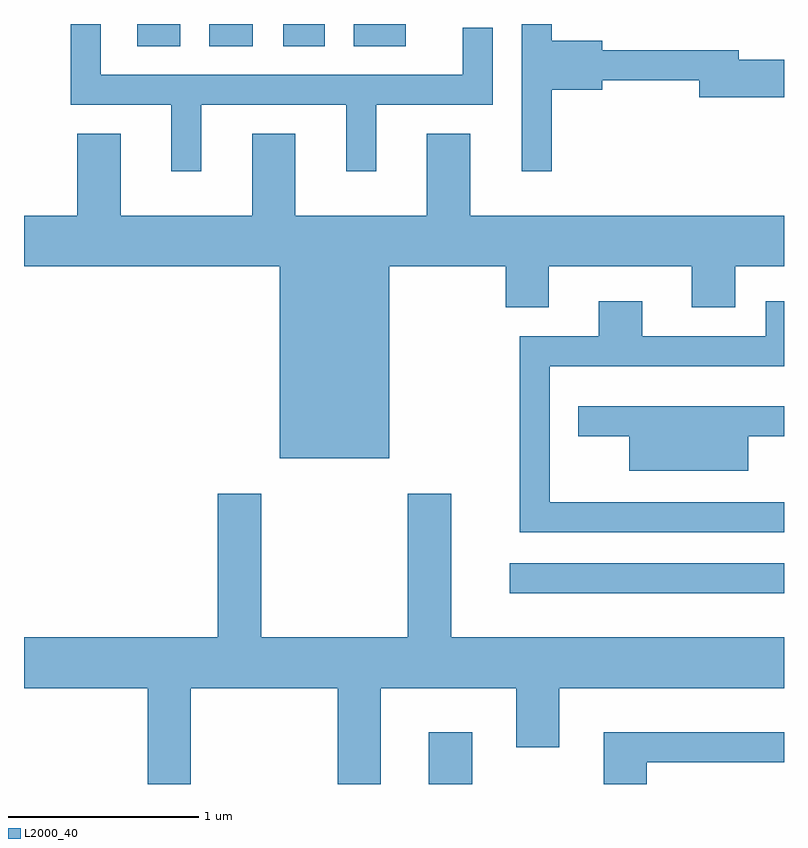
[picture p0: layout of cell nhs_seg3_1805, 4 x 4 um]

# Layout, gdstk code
import gdstk
lib = gdstk.Library(unit=1e-6, precision=1e-09)
def R(c, l, rs):  # rectangles x0, y0, x1, y1
    for r in rs: c.add(gdstk.rectangle(r[:2], r[2:], *l))
def P(c, l, *ps):  # polygons
    for p in ps: c.add(gdstk.Polygon(p, *l))
L2000_40 = (2000, 40)

nhs_seg3_1805 = lib.new_cell('nhs_seg3_1805')
R(nhs_seg3_1805, L2000_40, [(239.741,1189.892,239.969,1190.164), (240.168,1190.896,241.611,1191.054), (238.206,1193.776,238.434,1193.892), (238.586,1193.776,238.814,1193.892), (238.976,1193.776,239.194,1193.892), (239.346,1193.776,239.619,1193.892)])
P(nhs_seg3_1805, L2000_40, [(240.389,1193.546),(240.654,1193.546),(240.654,1193.596),(241.166,1193.596),(241.166,1193.506),(241.611,1193.506),(241.611,1193.704),(241.374,1193.704),(241.374,1193.754),(240.654,1193.754),(240.654,1193.804),(240.389,1193.804),(240.389,1193.892),(240.231,1193.892),(240.231,1193.118),(240.389,1193.118)],
  [(238.544,1193.466),(239.306,1193.466),(239.306,1193.118),(239.464,1193.118),(239.464,1193.466),(240.079,1193.466),(240.079,1193.873),(239.921,1193.873),(239.921,1193.624),(238.014,1193.624),(238.014,1193.892),(237.856,1193.892),(237.856,1193.466),(238.386,1193.466),(238.386,1193.118),(238.544,1193.118)],
  [(239.534,1192.616),(240.146,1192.616),(240.146,1192.401),(240.374,1192.401),(240.374,1192.616),(241.126,1192.616),(241.126,1192.401),(241.354,1192.401),(241.354,1192.616),(241.611,1192.616),(241.611,1192.884),(239.959,1192.884),(239.959,1193.314),(239.731,1193.314),(239.731,1192.884),(239.039,1192.884),(239.039,1193.314),(238.811,1193.314),(238.811,1192.884),(238.119,1192.884),(238.119,1193.314),(237.891,1193.314),(237.891,1192.884),(237.611,1192.884),(237.611,1192.616),(238.956,1192.616),(238.956,1191.606),(239.534,1191.606)],
  [(241.611,1191.374),(240.379,1191.374),(240.379,1192.091),(241.611,1192.091),(241.611,1192.434),(241.516,1192.434),(241.516,1192.249),(240.864,1192.249),(240.864,1192.434),(240.636,1192.434),(240.636,1192.249),(240.221,1192.249),(240.221,1191.216),(241.611,1191.216)],
  [(241.424,1191.721),(241.611,1191.721),(241.611,1191.879),(240.528,1191.879),(240.528,1191.721),(240.796,1191.721),(240.796,1191.541),(241.424,1191.541)],
  [(238.489,1190.396),(239.261,1190.396),(239.261,1189.892),(239.489,1189.892),(239.489,1190.396),(240.201,1190.396),(240.201,1190.086),(240.429,1190.086),(240.429,1190.396),(241.611,1190.396),(241.611,1190.664),(239.859,1190.664),(239.859,1191.419),(239.631,1191.419),(239.631,1190.664),(238.859,1190.664),(238.859,1191.419),(238.631,1191.419),(238.631,1190.664),(237.611,1190.664),(237.611,1190.396),(238.261,1190.396),(238.261,1189.892),(238.489,1189.892)],
  [(240.889,1190.006),(241.611,1190.006),(241.611,1190.164),(240.661,1190.164),(240.661,1189.892),(240.889,1189.892)])

lib.write_gds('nhs_seg3_1805.gds')
